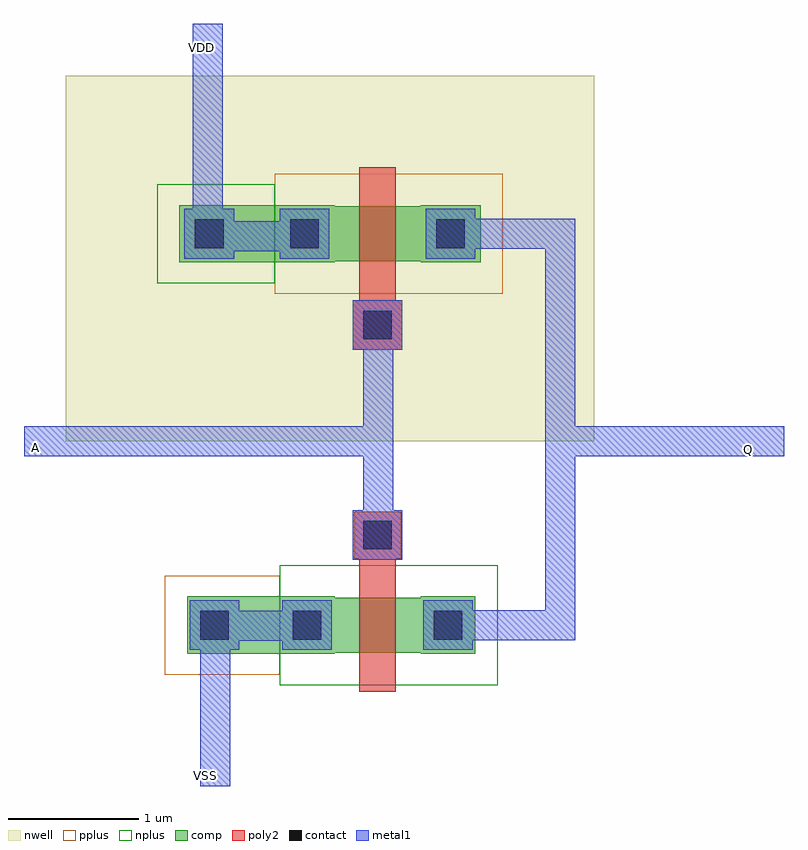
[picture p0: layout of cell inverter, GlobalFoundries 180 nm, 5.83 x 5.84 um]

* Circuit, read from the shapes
.subckt inverter A Q VDD VSS
XM1 Q A VSS VSS nfet_03v3 w=0.42u l=0.28u
XM2 Q A VDD VDD pfet_03v3 w=0.42u l=0.28u
.ends

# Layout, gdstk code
import gdstk
lib = gdstk.Library(unit=1e-6, precision=1e-09)
def R(c, l, rs):  # rectangles x0, y0, x1, y1
    for r in rs: c.add(gdstk.rectangle(r[:2], r[2:], *l))
def P(c, l, *ps):  # polygons
    for p in ps: c.add(gdstk.Polygon(p, *l))
nwell = (21, 0)
comp = (22, 0)
poly2 = (30, 0)
pplus = (31, 0)
nplus = (32, 0)
contact = (33, 0)
metal1 = (34, 0)

inverter = lib.new_cell('inverter')
R(inverter, nwell, [(-2.72,-1.38,1.33,1.42)])
P(inverter, comp, [(-1.85,-0.01),(-1.85,0.43),(-0.66,0.43),(-0.66,0.42),(0,0.42),(0,0.43),(0.46,0.43),(0.46,-0.01),(0,-0.01),(0,0),(-0.66,0),(-0.66,-0.01)],
  [(-1.79,-3.01),(-1.79,-2.57),(-0.66,-2.57),(-0.66,-2.58),(0,-2.58),(0,-2.57),(0.42,-2.57),(0.42,-3.01),(0,-3.01),(0,-3),(-0.66,-3),(-0.66,-3.01)])
P(inverter, poly2, [(-0.52,-0.68),(-0.52,-0.3),(-0.47,-0.3),(-0.47,0.72),(-0.19,0.72),(-0.19,-0.3),(-0.14,-0.3),(-0.14,-0.68)],
  [(-0.47,-3.3),(-0.47,-2.28),(-0.51,-2.28),(-0.51,-1.92),(-0.15,-1.92),(-0.15,-2.28),(-0.19,-2.28),(-0.19,-3.3)])
R(inverter, pplus, [(-1.96,-3.17,-1.08,-2.41), (-1.12,-0.25,0.63,0.67)])
R(inverter, nplus, [(-1.08,-3.25,0.59,-2.33), (-2.02,-0.17,-1.12,0.59)])
R(inverter, contact, [(-1.69,-2.9,-1.47,-2.68), (-0.98,-2.9,-0.76,-2.68), (0.1,-2.9,0.32,-2.68), (-0.44,-2.21,-0.22,-1.99), (-0.44,-0.6,-0.22,-0.38), (-1.73,0.1,-1.51,0.32), (-1,0.1,-0.78,0.32), (0.12,0.1,0.34,0.32)])
R(inverter, metal1, [(-1.77,-2.98,-1.39,-2.6), (-1.06,-2.98,-0.68,-2.6), (0.02,-2.98,0.4,-2.6), (-0.52,-2.29,-0.14,-1.91), (-0.52,-0.68,-0.14,-0.3), (-1.81,0.02,-1.43,0.4), (-1.08,0.02,-0.7,0.4), (0.04,0.02,0.42,0.4)])
inverter.add(gdstk.FlexPath([(-0.9,0.19),(-1.63,0.19),(-1.63,1.82)], 0.23, ends="flush", simple_path=True, layer=34, datatype=0))  # metal1
inverter.add(gdstk.FlexPath([(1.07,-1.38),(2.785,-1.38)], 0.23, ends="flush", simple_path=True, layer=34, datatype=0))  # metal1
inverter.add(gdstk.FlexPath([(-0.325,-0.38),(-0.325,-2.21)], 0.23, ends="flush", simple_path=True, layer=34, datatype=0))  # metal1
inverter.add(gdstk.FlexPath([(-0.325,-1.38),(-3.04,-1.38)], 0.23, ends="flush", simple_path=True, layer=34, datatype=0))  # metal1
inverter.add(gdstk.FlexPath([(-0.76,-2.795),(-1.575,-2.795),(-1.575,-4.025)], 0.23, ends="flush", simple_path=True, layer=34, datatype=0))  # metal1
inverter.add(gdstk.FlexPath([(0.12,0.21),(1.07,0.21),(1.07,-2.79),(0.08,-2.79)], 0.23, ends="flush", simple_path=True, layer=34, datatype=0))  # metal1
inverter.add(gdstk.Label('A', (-2.95,-1.43), layer=34, texttype=10))
inverter.add(gdstk.Label('Q', (2.51,-1.445), layer=34, texttype=10))
inverter.add(gdstk.Label('VDD', (-1.68,1.64), layer=34, texttype=10))
inverter.add(gdstk.Label('VSS', (-1.65,-3.945), layer=34, texttype=10))

lib.write_gds('inverter.gds')
